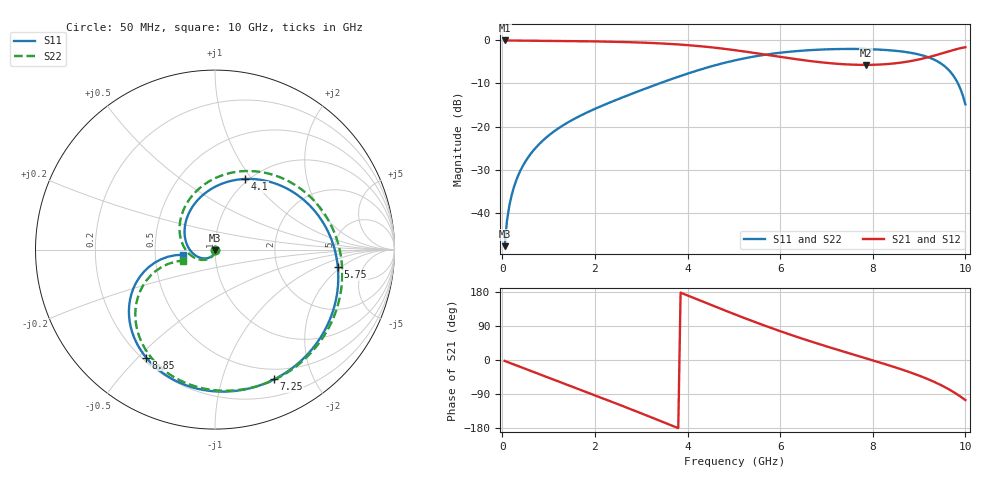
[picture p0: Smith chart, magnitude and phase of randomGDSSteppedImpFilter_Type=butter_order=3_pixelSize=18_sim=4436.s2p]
! freq	dB(S11)	phase(S11)	dB(S12)	phase(S12)
!  dB(S21)	phase(S21)	dB(S22)	phase(S22)
!S-par simulation data
#  GHz  S  DB  R 50
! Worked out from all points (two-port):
!   200 points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, 50 MHz to 10 GHz, reference 50 ohm
!   highest |S21| = 0.00 dB at 50 MHz (marker M1); lowest = -5.7 dB at 7.85 GHz (marker M2)
!   |S21| within 3 dB of the highest: start of sweep to 5.507 GHz; 9.496 GHz to end of sweep
!   lowest |S11| = -47.8 dB at 50 MHz (marker M3), VSWR 1.01, Z = 50 - j0.408 ohm
!   |S11| at or under -10 dB: start of sweep to 3.389 GHz; 9.84 GHz to end of sweep
!   |S22| runs from -47.8 to -2.0 dB; largest |S21 - S12| = 0
!   S11 on the Smith chart (normalised r, x): 50 MHz: 1.00, -0.01; 4.1 GHz: 0.97, +0.93; 5.75 GHz: 4.78, -1.80; 7.25 GHz: 0.38, -1.49; 8.85 GHz: 0.22, -0.53; 10 GHz: 0.70, -0.04
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0.05  -47.79 -88.9  -0.00 -2.4  -0.00 -2.4  -47.79 -88.5
0.1  -41.97 -93.0  -0.01 -4.7  -0.01 -4.7  -41.97 -92.2
0.2  -36.03 -99.3  -0.02 -9.3  -0.02 -9.3  -36.03 -97.8
0.5  -28.12 -115.5  -0.04 -23.2  -0.04 -23.2  -28.12 -111.8
1.15  -20.88 -148.7  -0.10 -53.3  -0.10 -53.3  -20.89 -140.4
1.75  -17.14 -178.7  -0.18 -81.3  -0.18 -81.3  -17.17 -166.7
2.5  -13.64 144.2  -0.33 -116.7  -0.33 -116.7  -13.68 159.3
3  -11.55 119.8  -0.50 -140.7  -0.50 -140.7  -11.60 135.7
3.4  -9.95 100.4  -0.68 -160.2  -0.68 -160.2  -10.00 116.2
4.1  -7.36 66.8  -1.17 165.4  -1.17 165.4  -7.40 81.3
4.6  -5.76 43.1  -1.70 140.8  -1.70 140.8  -5.79 56.2
5.05  -4.56 22.4  -2.30 119.1  -2.30 119.1  -4.59 34.1
5.75  -3.20 -8.2  -3.40 87.0  -3.40 87.0  -3.22 1.5
6.7  -2.22 -45.7  -4.86 47.5  -4.86 47.5  -2.22 -38.1
7.25  -2.00 -65.5  -5.44 26.6  -5.44 26.6  -2.00 -58.8
7.85  -2.01 -86.2  -5.68 4.6  -5.68 4.6  -2.01 -80.2
8.35  -2.27 -103.7  -5.46 -14.1  -5.46 -14.1  -2.27 -98.0
8.85  -2.93 -122.5  -4.74 -34.5  -4.74 -34.5  -2.92 -116.8
9.25  -4.11 -139.7  -3.76 -53.6  -3.76 -53.6  -4.09 -133.9
9.6  -6.44 -157.3  -2.67 -74.4  -2.67 -74.4  -6.39 -150.8
9.85  -10.21 -169.7  -1.91 -92.9  -1.91 -92.9  -10.07 -161.9
10  -14.86 -170.9  -1.58 -105.7  -1.58 -105.7  -14.46 -161.2
